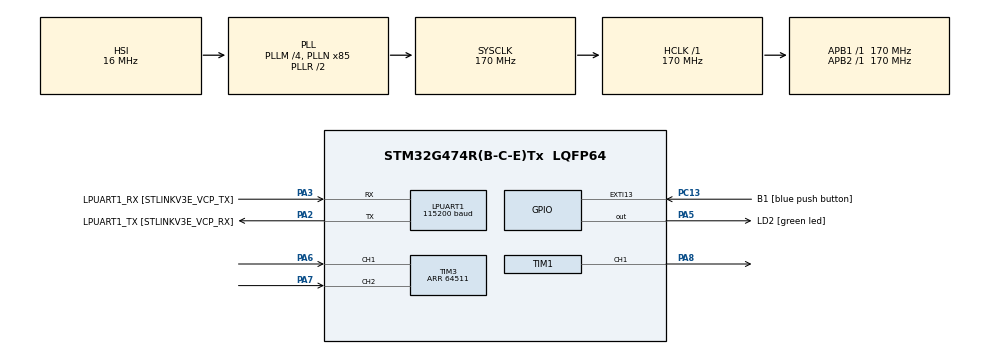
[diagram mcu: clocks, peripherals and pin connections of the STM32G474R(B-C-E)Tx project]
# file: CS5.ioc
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LPUART1.BaudRate=115200
LPUART1.WordLength=UART_WORDLENGTH_8B
Mcu.Family=STM32G4
Mcu.Name=STM32G474R(B-C-E)Tx
Mcu.Package=LQFP64
NVIC.EXTI15_10_IRQn=true\:0\:0\:false\:false\:true\:true\:true\:true
NVIC.PriorityGroup=NVIC_PRIORITYGROUP_4
NVIC.TIM5_IRQn=true\:0\:0\:false\:false\:true\:true\:true\:true
PA13.GPIO_Label=T_SWDIO
PA13.Mode=Serial_Wire
PA13.Signal=SYS_JTMS-SWDIO
PA14.GPIO_Label=T_SWCLK
PA14.Mode=Serial_Wire
PA14.Signal=SYS_JTCK-SWCLK
PA2.GPIO_Label=LPUART1_TX [STLINKV3E_VCP_RX]
PA2.Mode=Asynchronous
PA2.Signal=LPUART1_TX
PA3.GPIO_Label=LPUART1_RX [STLINKV3E_VCP_TX]
PA3.Mode=Asynchronous
PA3.Signal=LPUART1_RX
PA5.GPIO_Label=LD2 [green led]
PA5.Signal=GPIO_Output
PA6.Signal=S_TIM3_CH1
PA7.Signal=S_TIM3_CH2
PA8.Signal=S_TIM1_CH1
PB3.GPIO_Label=T_SWO
PB3.Signal=SYS_JTDO-SWO
PC13.GPIO_Label=B1 [blue push button]
PC13.Signal=GPXTI13
PC14-OSC32_IN.Mode=LSE-External-Oscillator
PC14-OSC32_IN.Signal=RCC_OSC32_IN
PC15-OSC32_OUT.Mode=LSE-External-Oscillator
PC15-OSC32_OUT.Signal=RCC_OSC32_OUT
PF0-OSC_IN.Mode=HSE-External-Oscillator
PF0-OSC_IN.Signal=RCC_OSC_IN
PF1-OSC_OUT.Mode=HSE-External-Oscillator
PF1-OSC_OUT.Signal=RCC_OSC_OUT
ProjectManager.HeapSize=0x200
ProjectManager.StackSize=0x400
ProjectManager.TargetToolchain=STM32CubeIDE
RCC.ADC12Freq_Value=170000000
RCC.ADC345Freq_Value=170000000
RCC.AHBFreq_Value=170000000
RCC.APB1Freq_Value=170000000
RCC.APB1TimFreq_Value=170000000
RCC.APB2Freq_Value=170000000
RCC.APB2TimFreq_Value=170000000
RCC.CortexFreq_Value=170000000
RCC.EXTERNAL_CLOCK_VALUE=12288000
RCC.HCLKFreq_Value=170000000
RCC.HSE_VALUE=24000000
RCC.HSI48_VALUE=48000000
RCC.HSI_VALUE=16000000
RCC.PLLM=RCC_PLLM_DIV4
RCC.PLLN=85
RCC.RTCClockSelection=RCC_RTCCLKSOURCE_LSE
RCC.SYSCLKFreq_VALUE=170000000
RCC.SYSCLKSource=RCC_SYSCLKSOURCE_PLLCLK
RCC.USBFreq_Value=170000000
RCC.VCOOutputFreq_Value=340000000
SH.S_TIM1_CH1.0=TIM1_CH1,PWM Generation1 CH1
SH.S_TIM3_CH1.0=TIM3_CH1,Encoder_Interface
SH.S_TIM3_CH2.0=TIM3_CH2,Encoder_Interface
TIM1.Channel-PWM\ Generation1\ CH1=TIM_CHANNEL_1
TIM1.PeriodNoDither=3071
TIM1.Prescaler=169
TIM1.PulseNoDither_1=3072
TIM3.EncoderMode=TIM_ENCODERMODE_TI12
TIM3.PeriodNoDither=64511
TIM5.Prescaler=169
VP_SYS_VS_DBSignals.Mode=DisableDeadBatterySignals
VP_TIM1_VS_ClockSourceINT.Mode=Internal
VP_TIM5_VS_ClockSourceINT.Mode=Internal
board=NUCLEO-G474RE

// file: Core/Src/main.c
/* USER CODE BEGIN Header */
/**
  ******************************************************************************
  * @file           : main.c
  * @brief          : Main program body
  ******************************************************************************
  * @attention
  *
  * Copyright (c) 2025 STMicroelectronics.
  * All rights reserved.
  *
  * This software is licensed under terms that can be found in the LICENSE file
  * in the root directory of this software component.
  * If no LICENSE file comes with this software, it is provided AS-IS.
  *
  ******************************************************************************
  */
/* USER CODE END Header */
#include "main.h"

UART_HandleTypeDef hlpuart1;

TIM_HandleTypeDef htim1;
TIM_HandleTypeDef htim3;
TIM_HandleTypeDef htim5;

/* USER CODE BEGIN PV */
typedef struct
{
	// for record New / Old value to calculate dx / dt
	uint32_t Position[2];
	uint64_t TimeStamp[2];

	float QEIPostion_1turn;
	float QEIAngularVelocity;
}QEI_StructureTypeDef;
QEI_StructureTypeDef QEIdata = {0};
enum
{
	NEW,OLD
};
uint64_t TimeValue;
uint32_t currentTimerValue;
uint32_t currentOverflowCnt;
uint32_t microsOverflowCnt;
uint16_t speed,PWM;
/* USER CODE END PV */

void SystemClock_Config(void);
static void MX_GPIO_Init(void);
static void MX_LPUART1_UART_Init(void);
static void MX_TIM3_Init(void);
static void MX_TIM5_Init(void);
static void MX_TIM1_Init(void);
/* USER CODE BEGIN PFP */
uint64_t micros();
void QEIEncoderPosVel_Update();
/* USER CODE END PFP */

int main(void)
{

  /* MCU Configuration--------------------------------------------------------*/

  /* Reset of all peripherals, Initializes the Flash interface and the Systick. */
  HAL_Init();

  /* Configure the system clock */
  SystemClock_Config();

  /* Initialize all configured peripherals */
  MX_GPIO_Init();
  MX_LPUART1_UART_Init();
  MX_TIM3_Init();
  MX_TIM5_Init();
  MX_TIM1_Init();
  /* USER CODE BEGIN 2 */
  HAL_TIM_Encoder_Start(&htim3,TIM_CHANNEL_ALL);
  HAL_TIM_Base_Start_IT(&htim5);
  HAL_TIM_Base_Start(&htim1);
  HAL_TIM_PWM_Start(&htim1, TIM_CHANNEL_1);
  /* USER CODE END 2 */

  /* Infinite loop */
  while (1)
  {

    /* USER CODE BEGIN 3 */
	  static uint64_t timestamp =0;
	  int64_t currentTime = micros();
	  if(currentTime > timestamp)
	  {
		  timestamp =currentTime + 100000;//us
		  QEIEncoderPosVel_Update();
		  PWM = (speed/60.0)*3072.0;
		  __HAL_TIM_SET_COMPARE(&htim1, TIM_CHANNEL_1, PWM);

	  }
  }
  /* USER CODE END 3 */
}

void SystemClock_Config(void)
{
  RCC_OscInitTypeDef RCC_OscInitStruct = {0};
  RCC_ClkInitTypeDef RCC_ClkInitStruct = {0};

  /** Configure the main internal regulator output voltage
  */
  HAL_PWREx_ControlVoltageScaling(PWR_REGULATOR_VOLTAGE_SCALE1_BOOST);

  /** Initializes the RCC Oscillators according to the specified parameters
  * in the RCC_OscInitTypeDef structure.
  */
  RCC_OscInitStruct.OscillatorType = RCC_OSCILLATORTYPE_HSI;
  RCC_OscInitStruct.HSIState = RCC_HSI_ON;
  RCC_OscInitStruct.HSICalibrationValue = RCC_HSICALIBRATION_DEFAULT;
  RCC_OscInitStruct.PLL.PLLState = RCC_PLL_ON;
  RCC_OscInitStruct.PLL.PLLSource = RCC_PLLSOURCE_HSI;
  RCC_OscInitStruct.PLL.PLLM = RCC_PLLM_DIV4;
  RCC_OscInitStruct.PLL.PLLN = 85;
  RCC_OscInitStruct.PLL.PLLP = RCC_PLLP_DIV2;
  RCC_OscInitStruct.PLL.PLLQ = RCC_PLLQ_DIV2;
  RCC_OscInitStruct.PLL.PLLR = RCC_PLLR_DIV2;
  if (HAL_RCC_OscConfig(&RCC_OscInitStruct) != HAL_OK)
  {
    Error_Handler();
  }

  /** Initializes the CPU, AHB and APB buses clocks
  */
  RCC_ClkInitStruct.ClockType = RCC_CLOCKTYPE_HCLK|RCC_CLOCKTYPE_SYSCLK
                              |RCC_CLOCKTYPE_PCLK1|RCC_CLOCKTYPE_PCLK2;
  RCC_ClkInitStruct.SYSCLKSource = RCC_SYSCLKSOURCE_PLLCLK;
  RCC_ClkInitStruct.AHBCLKDivider = RCC_SYSCLK_DIV1;
  RCC_ClkInitStruct.APB1CLKDivider = RCC_HCLK_DIV1;
  RCC_ClkInitStruct.APB2CLKDivider = RCC_HCLK_DIV1;

  if (HAL_RCC_ClockConfig(&RCC_ClkInitStruct, FLASH_LATENCY_4) != HAL_OK)
  {
    Error_Handler();
  }
}

static void MX_LPUART1_UART_Init(void)
{

  hlpuart1.Instance = LPUART1;
  hlpuart1.Init.BaudRate = 115200;
  hlpuart1.Init.WordLength = UART_WORDLENGTH_8B;
  hlpuart1.Init.StopBits = UART_STOPBITS_1;
  hlpuart1.Init.Parity = UART_PARITY_NONE;
  hlpuart1.Init.Mode = UART_MODE_TX_RX;
  hlpuart1.Init.HwFlowCtl = UART_HWCONTROL_NONE;
  hlpuart1.Init.OneBitSampling = UART_ONE_BIT_SAMPLE_DISABLE;
  hlpuart1.Init.ClockPrescaler = UART_PRESCALER_DIV1;
  hlpuart1.AdvancedInit.AdvFeatureInit = UART_ADVFEATURE_NO_INIT;
  if (HAL_UART_Init(&hlpuart1) != HAL_OK)
  {
    Error_Handler();
  }
  if (HAL_UARTEx_SetTxFifoThreshold(&hlpuart1, UART_TXFIFO_THRESHOLD_1_8) != HAL_OK)
  {
    Error_Handler();
  }
  if (HAL_UARTEx_SetRxFifoThreshold(&hlpuart1, UART_RXFIFO_THRESHOLD_1_8) != HAL_OK)
  {
    Error_Handler();
  }
  if (HAL_UARTEx_DisableFifoMode(&hlpuart1) != HAL_OK)
  {
    Error_Handler();
  }

}

static void MX_TIM1_Init(void)
{

  TIM_ClockConfigTypeDef sClockSourceConfig = {0};
  TIM_MasterConfigTypeDef sMasterConfig = {0};
  TIM_OC_InitTypeDef sConfigOC = {0};
  TIM_BreakDeadTimeConfigTypeDef sBreakDeadTimeConfig = {0};

  htim1.Instance = TIM1;
  htim1.Init.Prescaler = 169;
  htim1.Init.CounterMode = TIM_COUNTERMODE_UP;
  htim1.Init.Period = 3071;
  htim1.Init.ClockDivision = TIM_CLOCKDIVISION_DIV1;
  htim1.Init.RepetitionCounter = 0;
  htim1.Init.AutoReloadPreload = TIM_AUTORELOAD_PRELOAD_DISABLE;
  if (HAL_TIM_Base_Init(&htim1) != HAL_OK)
  {
    Error_Handler();
  }
  sClockSourceConfig.ClockSource = TIM_CLOCKSOURCE_INTERNAL;
  if (HAL_TIM_ConfigClockSource(&htim1, &sClockSourceConfig) != HAL_OK)
  {
    Error_Handler();
  }
  if (HAL_TIM_PWM_Init(&htim1) != HAL_OK)
  {
    Error_Handler();
  }
  sMasterConfig.MasterOutputTrigger = TIM_TRGO_RESET;
  sMasterConfig.MasterOutputTrigger2 = TIM_TRGO2_RESET;
  sMasterConfig.MasterSlaveMode = TIM_MASTERSLAVEMODE_DISABLE;
  if (HAL_TIMEx_MasterConfigSynchronization(&htim1, &sMasterConfig) != HAL_OK)
  {
    Error_Handler();
  }
  sConfigOC.OCMode = TIM_OCMODE_PWM1;
  sConfigOC.Pulse = 3072;
  sConfigOC.OCPolarity = TIM_OCPOLARITY_HIGH;
  sConfigOC.OCNPolarity = TIM_OCNPOLARITY_HIGH;
  sConfigOC.OCFastMode = TIM_OCFAST_DISABLE;
  sConfigOC.OCIdleState = TIM_OCIDLESTATE_RESET;
  sConfigOC.OCNIdleState = TIM_OCNIDLESTATE_RESET;
  if (HAL_TIM_PWM_ConfigChannel(&htim1, &sConfigOC, TIM_CHANNEL_1) != HAL_OK)
  {
    Error_Handler();
  }
  sBreakDeadTimeConfig.OffStateRunMode = TIM_OSSR_DISABLE;
  sBreakDeadTimeConfig.OffStateIDLEMode = TIM_OSSI_DISABLE;
  sBreakDeadTimeConfig.LockLevel = TIM_LOCKLEVEL_OFF;
  sBreakDeadTimeConfig.DeadTime = 0;
  sBreakDeadTimeConfig.BreakState = TIM_BREAK_DISABLE;
  sBreakDeadTimeConfig.BreakPolarity = TIM_BREAKPOLARITY_HIGH;
  sBreakDeadTimeConfig.BreakFilter = 0;
  sBreakDeadTimeConfig.BreakAFMode = TIM_BREAK_AFMODE_INPUT;
  sBreakDeadTimeConfig.Break2State = TIM_BREAK2_DISABLE;
  sBreakDeadTimeConfig.Break2Polarity = TIM_BREAK2POLARITY_HIGH;
  sBreakDeadTimeConfig.Break2Filter = 0;
  sBreakDeadTimeConfig.Break2AFMode = TIM_BREAK_AFMODE_INPUT;
  sBreakDeadTimeConfig.AutomaticOutput = TIM_AUTOMATICOUTPUT_DISABLE;
  if (HAL_TIMEx_ConfigBreakDeadTime(&htim1, &sBreakDeadTimeConfig) != HAL_OK)
  {
    Error_Handler();
  }
  HAL_TIM_MspPostInit(&htim1);

}

static void MX_TIM3_Init(void)
{

  TIM_Encoder_InitTypeDef sConfig = {0};
  TIM_MasterConfigTypeDef sMasterConfig = {0};

  htim3.Instance = TIM3;
  htim3.Init.Prescaler = 0;
  htim3.Init.CounterMode = TIM_COUNTERMODE_UP;
  htim3.Init.Period = 64511;
  htim3.Init.ClockDivision = TIM_CLOCKDIVISION_DIV1;
  htim3.Init.AutoReloadPreload = TIM_AUTORELOAD_PRELOAD_DISABLE;
  sConfig.EncoderMode = TIM_ENCODERMODE_TI12;
  sConfig.IC1Polarity = TIM_ICPOLARITY_RISING;
  sConfig.IC1Selection = TIM_ICSELECTION_DIRECTTI;
  sConfig.IC1Prescaler = TIM_ICPSC_DIV1;
  sConfig.IC1Filter = 0;
  sConfig.IC2Polarity = TIM_ICPOLARITY_RISING;
  sConfig.IC2Selection = TIM_ICSELECTION_DIRECTTI;
  sConfig.IC2Prescaler = TIM_ICPSC_DIV1;
  sConfig.IC2Filter = 0;
  if (HAL_TIM_Encoder_Init(&htim3, &sConfig) != HAL_OK)
  {
    Error_Handler();
  }
  sMasterConfig.MasterOutputTrigger = TIM_TRGO_RESET;
  sMasterConfig.MasterSlaveMode = TIM_MASTERSLAVEMODE_DISABLE;
  if (HAL_TIMEx_MasterConfigSynchronization(&htim3, &sMasterConfig) != HAL_OK)
  {
    Error_Handler();
  }

}

static void MX_TIM5_Init(void)
{

  TIM_ClockConfigTypeDef sClockSourceConfig = {0};
  TIM_MasterConfigTypeDef sMasterConfig = {0};

  htim5.Instance = TIM5;
  htim5.Init.Prescaler = 169;
  htim5.Init.CounterMode = TIM_COUNTERMODE_UP;
  htim5.Init.Period = 4.294967295E9;
  htim5.Init.ClockDivision = TIM_CLOCKDIVISION_DIV1;
  htim5.Init.AutoReloadPreload = TIM_AUTORELOAD_PRELOAD_DISABLE;
  if (HAL_TIM_Base_Init(&htim5) != HAL_OK)
  {
    Error_Handler();
  }
  sClockSourceConfig.ClockSource = TIM_CLOCKSOURCE_INTERNAL;
  if (HAL_TIM_ConfigClockSource(&htim5, &sClockSourceConfig) != HAL_OK)
  {
    Error_Handler();
  }
  sMasterConfig.MasterOutputTrigger = TIM_TRGO_RESET;
  sMasterConfig.MasterSlaveMode = TIM_MASTERSLAVEMODE_DISABLE;
  if (HAL_TIMEx_MasterConfigSynchronization(&htim5, &sMasterConfig) != HAL_OK)
  {
    Error_Handler();
  }

}

static void MX_GPIO_Init(void)
{
  GPIO_InitTypeDef GPIO_InitStruct = {0};

  /* GPIO Ports Clock Enable */
  __HAL_RCC_GPIOC_CLK_ENABLE();
  __HAL_RCC_GPIOF_CLK_ENABLE();
  __HAL_RCC_GPIOA_CLK_ENABLE();
  __HAL_RCC_GPIOB_CLK_ENABLE();

  /*Configure GPIO pin Output Level */
  HAL_GPIO_WritePin(LD2_GPIO_Port, LD2_Pin, GPIO_PIN_RESET);

  /*Configure GPIO pin : B1_Pin */
  GPIO_InitStruct.Pin = B1_Pin;
  GPIO_InitStruct.Mode = GPIO_MODE_IT_RISING;
  GPIO_InitStruct.Pull = GPIO_NOPULL;
  HAL_GPIO_Init(B1_GPIO_Port, &GPIO_InitStruct);

  /*Configure GPIO pin : LD2_Pin */
  GPIO_InitStruct.Pin = LD2_Pin;
  GPIO_InitStruct.Mode = GPIO_MODE_OUTPUT_PP;
  GPIO_InitStruct.Pull = GPIO_NOPULL;
  GPIO_InitStruct.Speed = GPIO_SPEED_FREQ_LOW;
  HAL_GPIO_Init(LD2_GPIO_Port, &GPIO_InitStruct);

  /* EXTI interrupt init*/
  HAL_NVIC_SetPriority(EXTI15_10_IRQn, 0, 0);
  HAL_NVIC_EnableIRQ(EXTI15_10_IRQn);

}

/* USER CODE BEGIN 4 */
//MicroSecondTimer Implement
void HAL_TIM_PeriodElapsedCallback(TIM_HandleTypeDef *htim)
{
	if(htim == &htim5)
	{
		microsOverflowCnt++;
	}
}
uint64_t micros()
{
	// Disable interrupts temporarily
	__disable_irq();
	//read timer and overflow counter
	currentTimerValue = __HAL_TIM_GET_COUNTER(&htim5);
	currentOverflowCnt = microsOverflowCnt;
	// Check for overflow during the read
	if (__HAL_TIM_GET_FLAG(&htim5, TIM_FLAG_UPDATE))
	{
	currentTimerValue = __HAL_TIM_GET_COUNTER(&htim5);
	currentOverflowCnt++;
	}
	__enable_irq();

	TimeValue = (4294967295*(currentOverflowCnt-1))+currentTimerValue;
	return TimeValue;
}

void QEIEncoderPosVel_Update()
{
	//collect data
	QEIdata.TimeStamp[NEW] = micros();
	QEIdata.Position[NEW] = __HAL_TIM_GET_COUNTER(&htim3);

	//Postion 1 turn calculation
	QEIdata.QEIPostion_1turn = QEIdata.Position[NEW] % 3072;

	//calculate dx
	int32_t diffPosition = QEIdata.Position[NEW] - QEIdata.Position[OLD];

	//Handle Warp around
	if(diffPosition > 32256)
		diffPosition -=64512;
	if(diffPosition < -32256)
		diffPosition +=64512;

	//calculate dt
	float diffTime = (QEIdata.TimeStamp[NEW]-QEIdata.TimeStamp[OLD]) * 0.000001;

	//calculate anglar velocity
	QEIdata.QEIAngularVelocity = diffPosition / diffTime;

	//store value for next loop
	QEIdata.Position[OLD] = QEIdata.Position[NEW];
	QEIdata.TimeStamp[OLD]=QEIdata.TimeStamp[NEW];

}
/* USER CODE END 4 */

void Error_Handler(void)
{
  __disable_irq();
  while (1)
  {
  }
}
